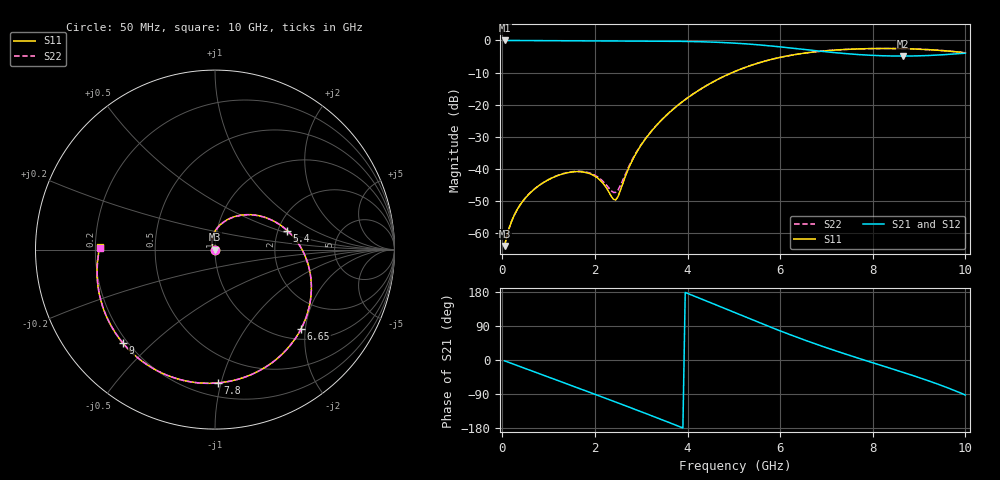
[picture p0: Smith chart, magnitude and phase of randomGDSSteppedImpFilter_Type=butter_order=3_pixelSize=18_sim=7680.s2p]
! freq	dB(S11)	phase(S11)	dB(S12)	phase(S12)
!  dB(S21)	phase(S21)	dB(S22)	phase(S22)
!S-par simulation data
#  GHz  S  DB  R 50
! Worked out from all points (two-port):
!   200 points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, 50 MHz to 10 GHz, reference 50 ohm
!   highest |S21| = 0.00 dB at 50 MHz (marker M1); lowest = -4.9 dB at 8.65 GHz (marker M2)
!   |S21| within 3 dB of the highest: start of sweep to 6.644 GHz
!   lowest |S11| = -64.0 dB at 50 MHz (marker M3), VSWR 1.00, Z = 50 + j0.052 ohm
!   |S11| at or under -10 dB: start of sweep to 4.965 GHz
!   |S22| runs from -64.0 to -2.5 dB; largest |S21 - S12| = 0
!   S11 on the Smith chart (normalised r, x): 50 MHz: 1.00, +0.00; 5.4 GHz: 2.24, +0.58; 6.65 GHz: 1.23, -1.89; 7.8 GHz: 0.30, -0.98; 9 GHz: 0.18, -0.41; 10 GHz: 0.22, +0.01
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0.05  -63.97 55.1  -0.00 -2.3  -0.00 -2.3  -64.01 56.8
0.25  -54.62 67.8  -0.02 -11.3  -0.02 -11.3  -54.63 68.2
0.6  -47.45 63.8  -0.04 -27.1  -0.04 -27.1  -47.46 64.9
1.15  -42.29 45.4  -0.06 -51.9  -0.06 -51.9  -42.25 47.4
1.75  -40.95 23.5  -0.09 -79.1  -0.09 -79.1  -40.82 27.2
2.1  -43.30 17.2  -0.11 -95.0  -0.11 -95.0  -42.90 23.2
2.45  -49.61 72.0  -0.13 -111.0  -0.13 -111.0  -47.27 71.5
2.9  -34.83 124.1  -0.16 -131.9  -0.16 -131.9  -34.66 120.3
3.4  -25.33 108.4  -0.21 -155.4  -0.21 -155.4  -25.30 106.9
3.8  -20.07 91.3  -0.27 -174.5  -0.27 -174.5  -20.05 90.5
4.2  -15.90 72.9  -0.37 166.0  -0.37 166.0  -15.89 72.4
5.05  -9.48 31.9  -0.86 123.5  -0.86 123.5  -9.48 31.7
5.4  -7.61 14.8  -1.21 106.1  -1.21 106.1  -7.61 14.7
6.05  -5.11 -16.1  -2.08 74.5  -2.08 74.5  -5.11 -16.0
6.65  -3.71 -42.8  -3.01 47.3  -3.01 47.3  -3.71 -42.6
6.7  -3.63 -44.9  -3.09 45.1  -3.09 45.1  -3.63 -44.8
7.8  -2.58 -88.7  -4.49 0.4  -4.49 0.4  -2.58 -88.5
8.35  -2.50 -109.4  -4.82 -20.8  -4.82 -20.8  -2.50 -109.1
8.65  -2.56 -120.9  -4.86 -32.4  -4.86 -32.4  -2.56 -120.6
9  -2.72 -134.7  -4.78 -46.4  -4.78 -46.4  -2.72 -134.3
9.55  -3.20 -158.5  -4.42 -70.3  -4.42 -70.3  -3.20 -158.0
10  -3.84 178.8  -3.95 -92.5  -3.95 -92.5  -3.84 179.4
